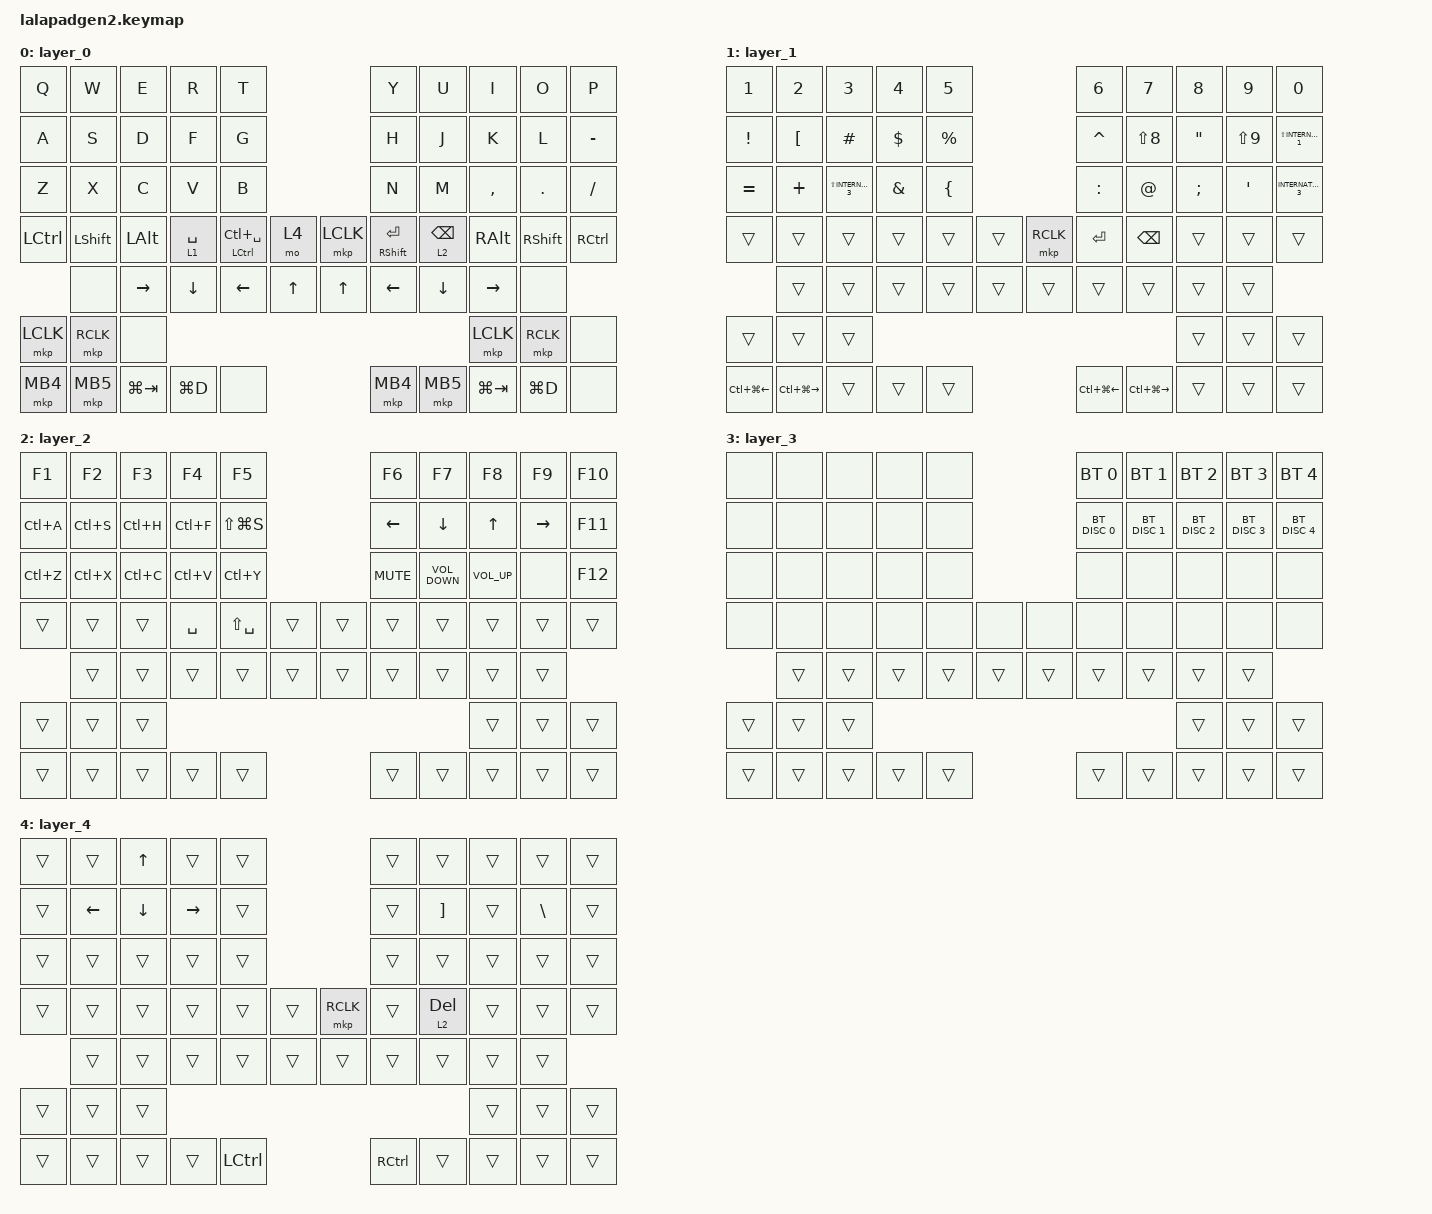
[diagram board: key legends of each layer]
#include <input/processors.dtsi>
#include <dt-bindings/zmk/zip_dynamic_scale.h>
#include <behaviors.dtsi>
#include <dt-bindings/zmk/bt.h>
#include <dt-bindings/zmk/keys.h>
#include <dt-bindings/zmk/pointing.h>

#define DEFAULT_LAYER   0
#define SECONDARY_LAYER 1
#define TERTIARY_LAYER  2
#define SYSTEM_LAYER    3

&mt { quick-tap-ms = <200>; };

&lt { quick-tap-ms = <200>; };

/ {
    behaviors {
        zip_dyn_scale: zip_dyn_scale {
            compatible = "zmk,behavior-zip-dynamic-scale";
            #binding-cells = <2>;
        };

        zip_dyn_scale_set: zip_dyn_scale_set {
            compatible = "zmk,behavior-zip-dynamic-scale-set";
            #binding-cells = <2>;
        };

        mt2: mod_tap2 {
            compatible = "zmk,behavior-hold-tap";
            #binding-cells = <2>;
            flavor = "tap-preferred";
            tapping-term-ms = <200>;
            quick-tap-ms = <200>;
            require-prior-idle-ms = <125>;
            bindings = <&kp>, <&kp>;
        };

        tap_dance_layer_1and2: tap_dance_layer_1and2 {
            compatible = "zmk,behavior-tap-dance";
            label = "td_mo12";
            #binding-cells = <0>;
            bindings = <&mo 1>, <&mo 2>;
        };
    };

    combos {
        compatible = "zmk,combos";

        C_ESC {
            bindings = <&kp ESCAPE>;
            key-positions = <0 1>;
        };

        C_TAB {
            bindings = <&kp TAB>;
            key-positions = <12 11>;
        };

        C_BTAB {
            bindings = <&kp LS(TAB)>;
            key-positions = <12 13>;
        };

        C_LCTL {
            bindings = <&kp LEFT_CONTROL>;
            key-positions = <10 11>;
        };

        C_RCTL {
            bindings = <&kp RIGHT_CONTROL>;
            key-positions = <18 19>;
        };

        C_LSFT {
            bindings = <&kp LEFT_SHIFT>;
            key-positions = <20 21>;
        };

        C_RSFT {
            bindings = <&kp RIGHT_SHIFT>;
            key-positions = <28 29>;
        };

        C_LGUI {
            bindings = <&kp LEFT_GUI>;
            key-positions = <30 31>;
        };

        C_RGUI {
            bindings = <&kp RIGHT_GUI>;
            key-positions = <40 41>;
        };

        C_DEL {
            bindings = <&kp DELETE>;
            key-positions = <8 9>;
        };

        C_RCLK {
            bindings = <&mkp RCLK>;
            key-positions = <15 16>;
        };
    };

    keymap {
        compatible = "zmk,keymap";

        layer_0 {
            bindings = <
&kp Q      &kp W           &kp E         &kp R        &kp T                                          &kp Y                  &kp U            &kp I          &kp O            &kp P
&kp A      &kp S           &kp D         &kp F        &kp G                                          &kp H                  &kp J            &kp K          &kp L            &kp MINUS
&kp Z      &kp X           &kp C         &kp V        &kp B                                          &kp N                  &kp M            &kp COMMA      &kp PERIOD       &kp SLASH
&kp LCTRL  &kp LEFT_SHIFT  &kp LEFT_ALT  &lt 1 SPACE  &mt LEFT_CONTROL LC(SPACE)  &mo 4   &mkp LCLK  &mt RIGHT_SHIFT ENTER  &lt 2 BACKSPACE  &kp RIGHT_ALT  &kp RIGHT_SHIFT  &kp RIGHT_CONTROL
           &none           &kp RIGHT     &kp DOWN     &kp LEFT                    &kp UP  &kp UP     &kp LEFT               &kp DOWN         &kp RIGHT      &none
&mkp LCLK  &mkp RCLK       &none                                                                                                             &mkp LCLK      &mkp RCLK        &none
&mkp MB4   &mkp MB5        &kp LG(TAB)   &kp LG(D)    &none                                          &mkp MB4               &mkp MB5         &kp LG(TAB)    &kp LG(D)        &none
            >;
        };

        layer_1 {
            bindings = <
&kp NUMBER_1      &kp NUMBER_2       &kp NUMBER_3             &kp NUMBER_4   &kp N5                             &kp NUMBER_6      &kp N7             &kp N8             &kp N9            &kp N0
&kp EXCLAMATION   &kp LEFT_BRACKET   &kp HASH                 &kp DOLLAR     &kp PERCENT                        &kp CARET         &kp LS(N8)         &kp DOUBLE_QUOTES  &kp LS(N9)        &kp LS(INTERNATIONAL_1)
&kp EQUAL         &kp PLUS           &kp LS(INTERNATIONAL_3)  &kp AMPERSAND  &kp LEFT_BRACE                     &kp COLON         &kp AT_SIGN        &kp SEMICOLON      &kp SINGLE_QUOTE  &kp INTERNATIONAL_3
&trans            &trans             &trans                   &trans         &trans          &trans  &mkp RCLK  &kp ENTER         &kp BACKSPACE      &trans             &trans            &trans
                  &trans             &trans                   &trans         &trans          &trans  &trans     &trans            &trans             &trans             &trans
&trans            &trans             &trans                                                                                                          &trans             &trans            &trans
&kp LC(LG(LEFT))  &kp LC(LG(RIGHT))  &trans                   &trans         &trans                             &kp LC(LG(LEFT))  &kp LC(LG(RIGHT))  &trans             &trans            &trans
            >;
        };

        layer_2 {
            bindings = <
&kp F1     &kp F2     &kp F3     &kp F4     &kp F5                         &kp F6      &kp F7             &kp F8           &kp F9     &kp F10
&kp LC(A)  &kp LC(S)  &kp LC(H)  &kp LC(F)  &kp LS(LG(S))                  &kp LEFT    &kp DOWN           &kp UP           &kp RIGHT  &kp F11
&kp LC(Z)  &kp LC(X)  &kp LC(C)  &kp LC(V)  &kp LC(Y)                      &kp C_MUTE  &kp C_VOLUME_DOWN  &kp C_VOLUME_UP  &none      &kp F12
&trans     &trans     &trans     &kp SPACE  &kp LS(SPACE)  &trans  &trans  &trans      &trans             &trans           &trans     &trans
           &trans     &trans     &trans     &trans         &trans  &trans  &trans      &trans             &trans           &trans
&trans     &trans     &trans                                                                              &trans           &trans     &trans
&trans     &trans     &trans     &trans     &trans                         &trans      &trans             &trans           &trans     &trans
            >;
        };

        layer_3 {
            bindings = <
&none   &none   &none   &none   &none                   &bt BT_SEL 0   &bt BT_SEL 1   &bt BT_SEL 2   &bt BT_SEL 3   &bt BT_SEL 4
&none   &none   &none   &none   &none                   &bt BT_DISC 0  &bt BT_DISC 1  &bt BT_DISC 2  &bt BT_DISC 3  &bt BT_DISC 4
&none   &none   &none   &none   &none                   &none          &none          &none          &none          &none
&none   &none   &none   &none   &none   &none   &none   &none          &none          &none          &none          &none
        &trans  &trans  &trans  &trans  &trans  &trans  &trans         &trans         &trans         &trans
&trans  &trans  &trans                                                                &trans         &trans         &trans
&trans  &trans  &trans  &trans  &trans                  &trans         &trans         &trans         &trans         &trans
            >;
        };

        layer_4 {
            bindings = <
&trans  &trans    &kp UP    &trans     &trans                               &trans             &trans             &trans  &trans         &trans
&trans  &kp LEFT  &kp DOWN  &kp RIGHT  &trans                               &trans             &kp RIGHT_BRACKET  &trans  &kp BACKSLASH  &trans
&trans  &trans    &trans    &trans     &trans                               &trans             &trans             &trans  &trans         &trans
&trans  &trans    &trans    &trans     &trans            &trans  &mkp RCLK  &trans             &lt 2 DELETE       &trans  &trans         &trans
        &trans    &trans    &trans     &trans            &trans  &trans     &trans             &trans             &trans  &trans
&trans  &trans    &trans                                                                                          &trans  &trans         &trans
&trans  &trans    &trans    &trans     &kp LEFT_CONTROL                     &kp RIGHT_CONTROL  &trans             &trans  &trans         &trans
            >;
        };
    };

    conditional_layers {
        compatible = "zmk,conditional-layers";

        Cond_Syslayer {
            if-layers = <2 4>;
            then-layer = <3>;
        };
    };
};
